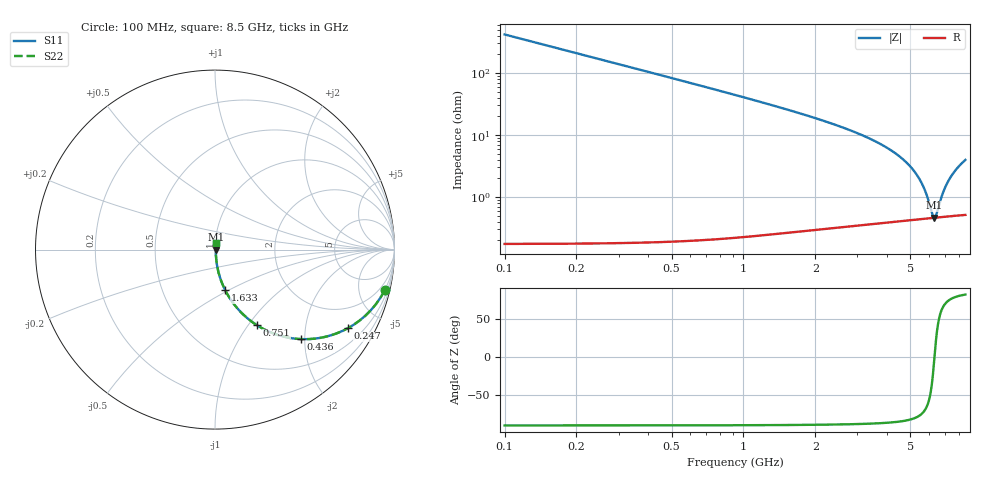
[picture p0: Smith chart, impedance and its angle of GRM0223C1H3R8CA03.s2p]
!Murata Part Number: GRM0223C1H3R8CA03
!These Parameters are Measured in Series Mode Connection
!Data Generated on Mar 30, 2021
!  o--ll--o
!Port1  Port2
!  o------o
!Operation Temp=25[degC], DC Bias Voltage=0[V]
!Freq. Start=100[MHz] Stop=9[GHz] 401[Steps]
# Hz S RI R 50
!Freq.(Hz) S11(Real) S11(Imag) S21(Real) S21(Imag) S12(Real) S12(Imag) S22(Real) S22(Imag)
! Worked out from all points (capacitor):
!   401 points, 100 MHz to 8.5 GHz, reference 50 ohm
!   read as one part in series: C = 3.8 pF near 142 MHz
!   lowest |Z| = 464 mohm at 6.295 GHz (marker M1)
!   series resonance near 6.309 GHz, so ESL is about 170 pH
!   S11 on the Smith chart (normalised r, x): 100 MHz: 1.00, -8.37; 247 MHz: 1.00, -3.39; 436 MHz: 1.00, -1.91; 751 MHz: 1.00, -1.10; 1.633 GHz: 1.01, -0.48; 8.5 GHz: 1.01, +0.08
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1e8  0.946 -0.2259  0.054 0.2259  0.054 0.2259  0.946 -0.2259
1.84e8  0.8378 -0.3683  0.1622 0.3683  0.1622 0.3683  0.8378 -0.3683
2.47e8  0.7411 -0.4375  0.2589 0.4375  0.2589 0.4375  0.7411 -0.4375
3.31e8  0.6139 -0.4861  0.3861 0.4861  0.3861 0.4861  0.6139 -0.4861
4.36e8  0.4773 -0.4985  0.5227 0.4985  0.5227 0.4985  0.4773 -0.4985
5.83e8  0.3366 -0.4712  0.6634 0.4712  0.6634 0.4712  0.3366 -0.4712
7.51e8  0.2325 -0.4205  0.7675 0.4205  0.7675 0.4205  0.2325 -0.4205
1.066e9  0.1282 -0.3312  0.8718 0.3312  0.8718 0.3312  0.1282 -0.3312
1.507e9  0.066 -0.2432  0.934 0.2432  0.934 0.2432  0.066 -0.2432
1.633e9  0.056 -0.2243  0.944 0.2243  0.944 0.2243  0.056 -0.2243
2.914e9  0.0157 -0.11  0.9843 0.11  0.9843 0.11  0.0157 -0.11
4.3e9  0.00659 -0.051  0.9934 0.051  0.9934 0.051  0.00659 -0.051
5.14e9  0.00498 -0.0268  0.995 0.0268  0.995 0.0268  0.00498 -0.0268
5.707e9  0.00461 -0.013  0.9954 0.013  0.9954 0.013  0.00461 -0.013
5.917e9  0.00457 -0.00831  0.9954 0.00831  0.9954 0.00831  0.00457 -0.00831
6.19e9  0.00458 -0.00246  0.9954 0.00246  0.9954 0.00246  0.00458 -0.00246
6.295e9  0.00461 -0.000278  0.9954 0.000278  0.9954 0.000278  0.00461 -0.000278
6.4e9  0.00464 0.00186  0.9954 -0.00186  0.9954 -0.00186  0.00464 0.00186
6.778e9  0.00482 0.00929  0.9952 -0.00929  0.9952 -0.00929  0.00482 0.00929
7.114e9  0.00506 0.0156  0.9949 -0.0156  0.9949 -0.0156  0.00506 0.0156
7.702e9  0.00563 0.0259  0.9944 -0.0259  0.9944 -0.0259  0.00563 0.0259
8.5e9  0.00665 0.0389  0.9933 -0.0389  0.9933 -0.0389  0.00665 0.0389
